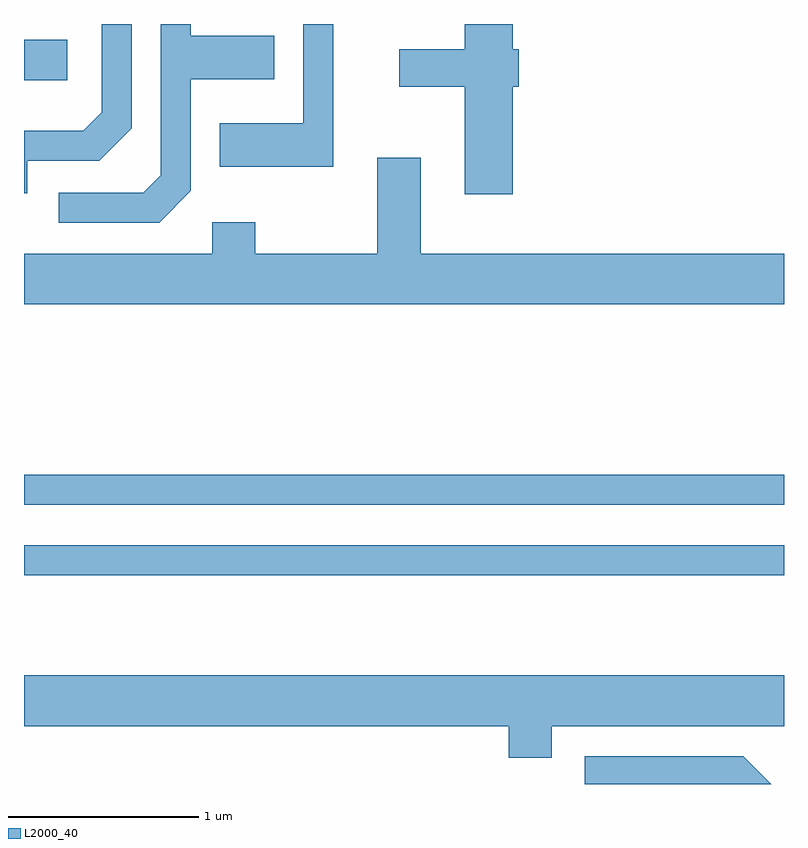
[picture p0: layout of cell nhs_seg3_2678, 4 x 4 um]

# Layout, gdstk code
import gdstk
lib = gdstk.Library(unit=1e-6, precision=1e-09)
def R(c, l, rs):  # rectangles x0, y0, x1, y1
    for r in rs: c.add(gdstk.rectangle(r[:2], r[2:], *l))
def P(c, l, *ps):  # polygons
    for p in ps: c.add(gdstk.Polygon(p, *l))
L2000_40 = (2000, 40)

nhs_seg3_2678 = lib.new_cell('nhs_seg3_2678')
R(nhs_seg3_2678, L2000_40, [(263.611,1168.991,267.611,1169.149), (263.611,1169.361,267.611,1169.519), (263.611,1171.596,263.839,1171.809)])
P(nhs_seg3_2678, L2000_40, [(265.239,1171.892),(265.081,1171.892),(265.081,1171.369),(264.641,1171.369),(264.641,1171.141),(265.239,1171.141)],
  [(264.489,1171.014),(264.489,1171.601),(264.929,1171.601),(264.929,1171.829),(264.489,1171.829),(264.489,1171.892),(264.331,1171.892),(264.331,1171.097),(264.239,1171.004),(263.793,1171.004),(263.793,1170.846),(264.322,1170.846)],
  [(266.184,1171.561),(266.214,1171.561),(266.214,1171.759),(266.184,1171.759),(266.184,1171.892),(265.931,1171.892),(265.931,1171.759),(265.586,1171.759),(265.586,1171.561),(265.931,1171.561),(265.931,1170.996),(266.184,1170.996)],
  [(263.629,1171.171),(264.007,1171.171),(264.179,1171.344),(264.179,1171.892),(264.021,1171.892),(264.021,1171.427),(263.924,1171.329),(263.611,1171.329),(263.611,1171.001),(263.629,1171.001)],
  [(267.611,1170.684),(265.699,1170.684),(265.699,1171.189),(265.471,1171.189),(265.471,1170.684),(264.829,1170.684),(264.829,1170.849),(264.601,1170.849),(264.601,1170.684),(263.611,1170.684),(263.611,1170.416),(267.611,1170.416)],
  [(266.389,1168.196),(267.611,1168.196),(267.611,1168.464),(263.611,1168.464),(263.611,1168.196),(266.161,1168.196),(266.161,1168.031),(266.389,1168.031)],
  [(267.397,1168.039),(266.561,1168.039),(266.561,1167.892),(267.544,1167.892)])

lib.write_gds('nhs_seg3_2678.gds')
